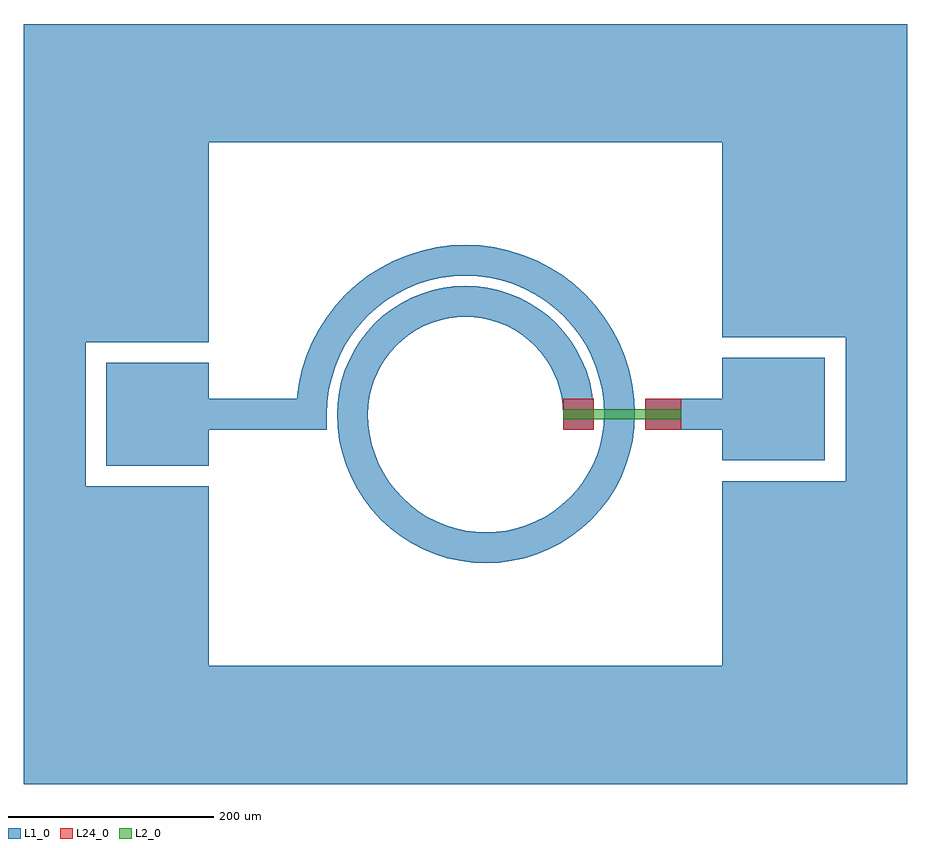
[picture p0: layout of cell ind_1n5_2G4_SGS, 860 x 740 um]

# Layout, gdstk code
import gdstk
lib = gdstk.Library(unit=1e-6, precision=1e-10)
def R(c, l, rs):  # rectangles x0, y0, x1, y1
    for r in rs: c.add(gdstk.rectangle(r[:2], r[2:], *l))
def P(c, l, *ps):  # polygons
    for p in ps: c.add(gdstk.Polygon(p, *l))
L1_0 = (1, 0)
L2_0 = (2, 0)
L24_0 = (24, 0)

ind_1n5_2g4_sgs = lib.new_cell('ind_1n5_2G4_SGS')
R(ind_1n5_2g4_sgs, L1_0, [(-205,-325,655,-210), (-205,-255,-25,-35), (475,-250,655,-30), (-205,-75,-145,140), (595,-75,655,140), (-125,-15,-25,85), (475,-10,575,90), (-35,20,90,50), (320,20,350,50), (400,20,485,50), (-205,105,-25,325), (475,110,655,330), (-205,300,655,415)])
P(ind_1n5_2g4_sgs, L1_0, [(360,35),(390,35),(389.4482,22.3624),(387.7971,9.821),(385.0592,-2.5288),(381.2554,-14.5929),(376.4146,-26.2796),(370.5737,-37.5),(363.777,-48.1686),(356.0764,-58.2042),(347.5305,-67.5305),(338.2042,-76.0764),(328.1686,-83.777),(317.5,-90.5737),(306.2796,-96.4146),(294.5929,-101.2554),(282.5288,-105.0592),(270.179,-107.7971),(257.6376,-109.4482),(245,-110),(232.3624,-109.4482),(219.821,-107.7971),(207.4712,-105.0592),(195.4071,-101.2554),(183.7204,-96.4146),(172.5,-90.5737),(161.8314,-83.777),(151.7958,-76.0764),(142.4695,-67.5305),(133.9236,-58.2042),(126.223,-48.1686),(119.4263,-37.5),(113.5854,-26.2796),(108.7446,-14.5929),(104.9408,-2.5288),(102.2029,9.821),(100.5518,22.3624),(100,35),(130,35),(130.4376,24.9771),(131.7471,15.0305),(133.9185,5.2358),(136.9353,-4.3323),(140.7746,-13.6011),(145.4071,-22.5),(150.7975,-30.9613),(156.9049,-38.9206),(163.6827,-46.3173),(171.0794,-53.0951),(179.0387,-59.2025),(187.5,-64.5929),(196.3989,-69.2254),(205.6677,-73.0647),(215.2358,-76.0815),(225.0305,-78.2529),(234.9771,-79.5624),(245,-80),(255.0229,-79.5624),(264.9695,-78.2529),(274.7642,-76.0815),(284.3323,-73.0647),(293.6011,-69.2254),(302.5,-64.5929),(310.9613,-59.2025),(318.9206,-53.0951),(326.3173,-46.3173),(333.0951,-38.9206),(339.2025,-30.9613),(344.5929,-22.5),(349.2254,-13.6011),(353.0647,-4.3323),(356.0815,5.2358),(358.2529,15.0305),(359.5624,24.9771)],
  [(320,35),(350,35),(349.5243,45.8945),(348.101,56.706),(345.7407,67.3524),(342.4616,77.7525),(338.2885,87.8273),(333.2532,97.5),(327.394,106.6971),(320.7556,115.3485),(313.3883,123.3883),(305.3485,130.7556),(296.6971,137.394),(287.5,143.2532),(277.8273,148.2885),(267.7525,152.4616),(257.3524,155.7407),(246.706,158.101),(235.8945,159.5243),(225,160),(214.1055,159.5243),(203.294,158.101),(192.6476,155.7407),(182.2475,152.4616),(172.1727,148.2885),(162.5,143.2532),(153.3029,137.394),(144.6515,130.7556),(136.6117,123.3883),(129.2444,115.3485),(122.606,106.6971),(116.7468,97.5),(111.7115,87.8273),(107.5384,77.7525),(104.2593,67.3524),(101.899,56.706),(100.4757,45.8945),(100,35),(130,35),(130.3615,43.2798),(131.4433,51.4966),(133.237,59.5878),(135.7292,67.4919),(138.9008,75.1487),(142.7276,82.5),(147.1806,89.4898),(152.2258,96.0648),(157.8249,102.1751),(163.9352,107.7742),(170.5102,112.8194),(177.5,117.2724),(184.8513,121.0992),(192.5081,124.2708),(200.4122,126.763),(208.5034,128.5567),(216.7202,129.6385),(225,130),(233.2798,129.6385),(241.4966,128.5567),(249.5878,126.763),(257.4919,124.2708),(265.1487,121.0992),(272.5,117.2724),(279.4898,112.8194),(286.0648,107.7742),(292.1751,102.1751),(297.7742,96.0648),(302.8194,89.4898),(307.2724,82.5),(311.0992,75.1487),(314.2708,67.4919),(316.763,59.5878),(318.5567,51.4966),(319.6385,43.2798)],
  [(360,35),(390,35),(389.3721,49.3807),(387.4933,63.6519),(384.3778,77.7051),(380.0493,91.4333),(374.5408,104.732),(367.8942,117.5),(360.1601,129.6401),(351.3973,141.06),(341.6726,151.6726),(331.06,161.3973),(319.6401,170.1601),(307.5,177.8942),(294.732,184.5408),(281.4333,190.0493),(267.7051,194.3778),(253.6519,197.4933),(239.3807,199.3721),(225,200),(210.6193,199.3721),(196.3481,197.4933),(182.2949,194.3778),(168.5667,190.0493),(155.268,184.5408),(142.5,177.8942),(130.3599,170.1601),(118.94,161.3973),(108.3274,151.6726),(98.6027,141.06),(89.8399,129.6401),(82.1058,117.5),(75.4592,104.732),(69.9507,91.4333),(65.6222,77.7051),(62.5067,63.6519),(60.6279,49.3807),(60,35),(90,35),(90.5137,46.766),(92.051,58.4425),(94.6,69.9406),(98.1415,81.1727),(102.6484,92.0535),(108.0866,102.5),(114.4145,112.4328),(121.584,121.7763),(129.5406,130.4594),(138.2237,138.416),(147.5672,145.5855),(157.5,151.9134),(167.9465,157.3516),(178.8273,161.8585),(190.0594,165.4),(201.5575,167.949),(213.234,169.4863),(225,170),(236.766,169.4863),(248.4425,167.949),(259.9406,165.4),(271.1727,161.8585),(282.0535,157.3516),(292.5,151.9134),(302.4328,145.5855),(311.7763,138.416),(320.4594,130.4594),(328.416,121.7763),(335.5855,112.4328),(341.9134,102.5),(347.3516,92.0535),(351.8585,81.1727),(355.4,69.9406),(357.949,58.4425),(359.4863,46.766)])
R(ind_1n5_2g4_sgs, L2_0, [(320,30,435,40)])
R(ind_1n5_2g4_sgs, L24_0, [(320,20,350,50), (400,20,435,50)])

lib.write_gds('ind_1n5_2G4_SGS.gds')
